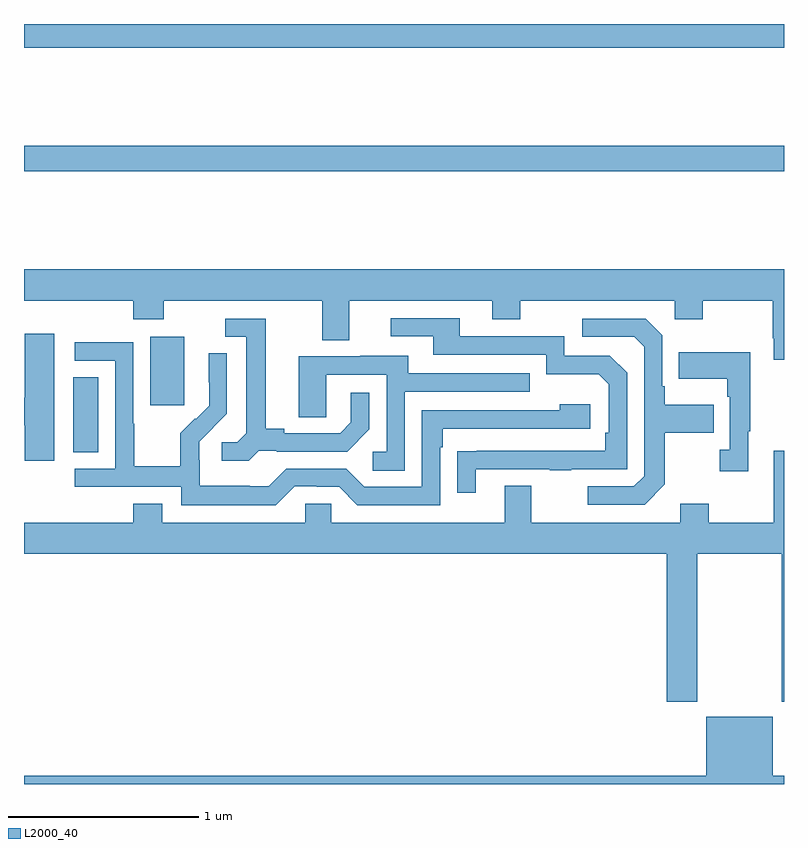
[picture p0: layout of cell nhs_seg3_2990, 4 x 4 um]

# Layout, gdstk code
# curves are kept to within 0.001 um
import gdstk
lib = gdstk.Library(unit=1e-6, precision=1e-09)
def R(c, l, rs):  # rectangles x0, y0, x1, y1
    for r in rs: c.add(gdstk.rectangle(r[:2], r[2:], *l))
def P(c, l, *ps):  # polygons
    for p in ps: c.add(gdstk.Polygon(p, *l))
L2000_40 = (2000, 40)

nhs_seg3_2990 = lib.new_cell('nhs_seg3_2990')
R(nhs_seg3_2990, L2000_40, [(267.26,672.145,267.391,672.542), (267.665,672.393,267.844,672.754), (267,673.624,271,673.76), (267,674.276,271,674.4)])
P(nhs_seg3_2990, L2000_40, [(267,672.944),(267.575,672.944),(267.575,672.845),(267.735,672.845),(267.735,672.944),(268.571,672.944),(268.571,672.736),(268.711,672.736),(268.711,672.944),(269.465,672.944),(269.465,672.845),(269.613,672.845),(269.613,672.944),(270.426,672.944),(270.426,672.845),(270.573,672.845),(270.573,672.944),(270.94,672.944),(270.94,672.745),(270.947,672.745),(270.947,672.633),(271,672.633),(271,673.108),(267,673.108)],
  [(269.377,672.057),(269.767,672.057),(269.767,672.052),(269.879,672.052),(269.879,672.057),(270.174,672.057),(270.174,672.564),(270.084,672.654),(269.844,672.654),(269.844,672.756),(269.293,672.756),(269.293,672.852),(268.929,672.852),(268.929,672.756),(269.153,672.756),(269.153,672.66),(269.748,672.66),(269.748,672.557),(270.025,672.557),(270.078,672.504),(270.078,672.25),(270.058,672.25),(270.058,672.153),(269.281,672.152),(269.281,671.934),(269.377,671.934)],
  [(268.236,672.153),(268.33,672.153),(268.33,672.15),(268.702,672.15),(268.818,672.266),(268.818,672.46),(268.721,672.46),(268.721,672.303),(268.664,672.246),(268.369,672.246),(268.369,672.269),(268.273,672.269),(268.273,672.849),(268.059,672.849),(268.059,672.753),(268.169,672.753),(268.169,672.245),(268.122,672.198),(268.041,672.198),(268.041,672.101),(268.184,672.101)],
  [(270.373,671.977),(270.373,672.25),(270.629,672.25),(270.629,672.397),(270.373,672.397),(270.373,672.493),(270.36,672.493),(270.36,672.762),(270.273,672.849),(269.937,672.849),(269.937,672.753),(270.213,672.753),(270.264,672.702),(270.264,672.021),(270.21,671.967),(269.967,671.967),(269.967,671.871),(270.267,671.871)],
  [(267.16,672.769),(267.005,672.769),(267.005,672.434),(267,672.434),(267,672.287),(267.005,672.287),(267.005,672.102),(267.16,672.102)],
  [(268.425,671.967),(268.541,671.967),(268.541,671.964),(268.659,671.964),(268.755,671.868),(269.19,671.868),(269.19,672.173),(269.203,672.173),(269.203,672.27),(269.98,672.27),(269.98,672.4),(269.819,672.4),(269.819,672.366),(269.094,672.366),(269.094,671.964),(268.791,671.964),(268.695,672.06),(268.38,672.06),(268.287,671.967),(268.187,671.967),(268.187,671.971),(267.924,671.971),(267.924,672.105),(267.922,672.105),(267.922,672.202),(268.068,672.35),(268.068,672.668),(267.972,672.668),(267.972,672.514),(267.974,672.514),(267.974,672.392),(267.903,672.321),(267.9,672.324),(267.823,672.247),(267.823,672.073),(267.579,672.073),(267.579,672.296),(267.576,672.296),(267.576,672.726),(267.267,672.726),(267.267,672.627),(267.48,672.627),(267.48,672.06),(267.267,672.06),(267.267,671.964),(267.828,671.964),(267.828,671.867),(268.325,671.867)],
  [(270.811,672.257),(270.823,672.257),(270.823,672.673),(270.445,672.673),(270.445,672.533),(270.702,672.533),(270.702,672.437),(270.714,672.437),(270.714,672.158),(270.663,672.158),(270.663,672.045),(270.811,672.045)],
  [(269.004,672.465),(269.663,672.465),(269.663,672.561),(269.023,672.561),(269.023,672.655),(268.769,672.655),(268.769,672.651),(268.445,672.651),(268.445,672.331),(268.59,672.331),(268.59,672.555),(268.908,672.555),(268.908,672.15),(268.836,672.15),(268.836,672.049),(269.004,672.049)],
  [(270.543,671.612),(270.988,671.612),(270.988,670.833),(271,670.833),(271,672.154),(270.947,672.154),(270.947,671.776),(270.603,671.776),(270.603,671.875),(270.455,671.875),(270.455,671.776),(269.671,671.776),(269.671,671.971),(269.531,671.971),(269.531,671.776),(268.617,671.776),(268.617,671.874),(268.479,671.874),(268.479,671.776),(267.727,671.776),(267.727,671.875),(267.575,671.875),(267.575,671.776),(267,671.776),(267,671.612),(270.383,671.612),(270.383,670.833),(270.543,670.833)],
  [(271,670.444),(270.94,670.444),(270.94,670.753),(270.59,670.753),(270.59,670.444),(267,670.444),(267,670.4),(271,670.4)])

lib.write_gds('nhs_seg3_2990.gds')
